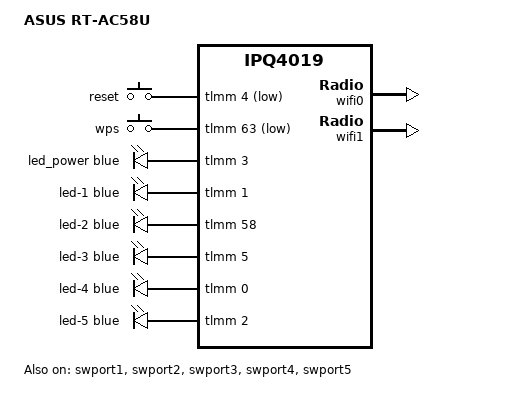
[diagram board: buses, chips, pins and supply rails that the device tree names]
// SPDX-License-Identifier: GPL-2.0-or-later OR MIT

#include "qcom-ipq4019.dtsi"
#include <dt-bindings/leds/common.h>
#include "qcom-ipq4018-asus.dtsi"

/ {
	model = "ASUS RT-AC58U";
	compatible = "asus,rt-ac58u";

	aliases {
		led-boot = &led_power;
		led-failsafe = &led_power;
		led-running = &led_power;
		led-upgrade = &led_power;
	};

	keys {
		compatible = "gpio-keys";

		reset {
			label = "reset";
			gpios = <&tlmm 4 GPIO_ACTIVE_LOW>;
			linux,code = <KEY_RESTART>;
		};

		wps {
			label = "wps";
			gpios = <&tlmm 63 GPIO_ACTIVE_LOW>;
			linux,code = <KEY_WPS_BUTTON>;
		};
	};

	leds {
		compatible = "gpio-leds";

		led_power: led-0 {
			color = <LED_COLOR_ID_BLUE>;
			function = LED_FUNCTION_POWER;
			gpios = <&tlmm 3 GPIO_ACTIVE_HIGH>;
			panic-indicator;
		};

		led-1 {
			color = <LED_COLOR_ID_BLUE>;
			function = LED_FUNCTION_WAN;
			gpios = <&tlmm 1 GPIO_ACTIVE_HIGH>;
			/*
			 * linux,default-trigger = "90000.mdio-1:04:link";
			 * sadly still lacks rx+tx
			 */
		};

		led-2 {
			color = <LED_COLOR_ID_BLUE>;
			function = LED_FUNCTION_WLAN;
			function-enumerator = <2>;
			gpios = <&tlmm 58 GPIO_ACTIVE_HIGH>;
			linux,default-trigger = "phy0tpt";
		};

		led-3 {
			color = <LED_COLOR_ID_BLUE>;
			function = LED_FUNCTION_WLAN;
			function-enumerator = <5>;
			gpios = <&tlmm 5 GPIO_ACTIVE_HIGH>;
			linux,default-trigger = "phy1tpt";
		};

		led-4 {
			color = <LED_COLOR_ID_BLUE>;
			function = LED_FUNCTION_USB;
			gpios = <&tlmm 0 GPIO_ACTIVE_HIGH>;
			trigger-sources = <&usb3_port1>, <&usb3_port2>;
			linux,default-trigger = "usbport";
		};

		led-5 {
			color = <LED_COLOR_ID_BLUE>;
			function = LED_FUNCTION_LAN;
			gpios = <&tlmm 2 GPIO_ACTIVE_HIGH>;
		};
	};
};

&tlmm {
	serial_pins: serial_pinmux {
		mux {
			pins = "gpio60", "gpio61";
			function = "blsp_uart0";
			bias-disable;
		};
	};

	spi_0_pins: spi_0_pinmux {
		mux {
			function = "blsp_spi0";
			pins = "gpio55", "gpio56", "gpio57";
			drive-strength = <12>;
			bias-disable;
		};

		mux_cs {
			function = "gpio";
			pins = "gpio54", "gpio59";
			drive-strength = <2>;
			bias-disable;
			output-high;
		};
	};
};

&blsp1_spi1 { /* BLSP1 QUP1 */
	cs-gpios = <&tlmm 54 GPIO_ACTIVE_HIGH>,
		   <&tlmm 59 GPIO_ACTIVE_HIGH>;
};

&swport1 {
	status = "okay";
};

&swport2 {
	status = "okay";
};

&swport3 {
	status = "okay";
};

&swport4 {
	status = "okay";
};

&swport5 {
	status = "okay";
};

&wifi0 {
	status = "okay";
	qcom,ath10k-calibration-variant = "RT-AC58U";
};

&wifi1 {
	status = "okay";
	qcom,ath10k-calibration-variant = "RT-AC58U";
};
